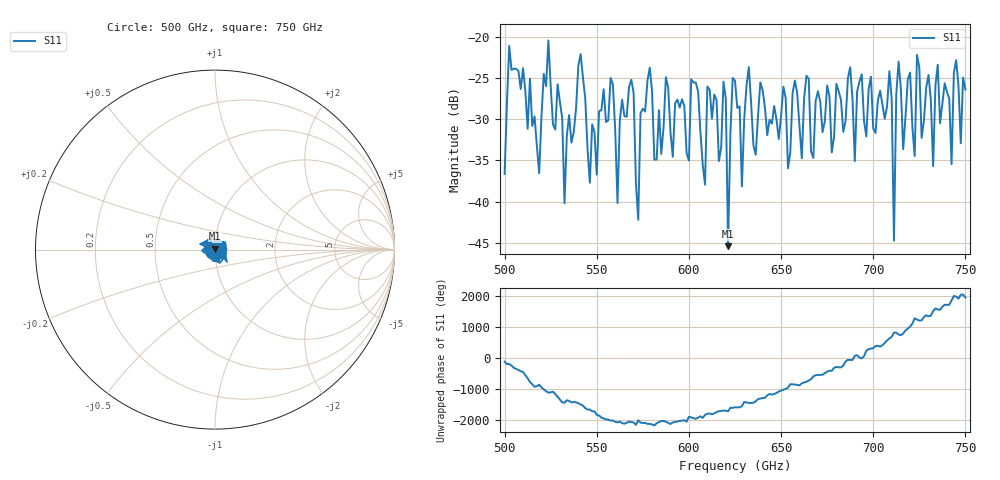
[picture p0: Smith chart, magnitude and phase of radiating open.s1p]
!Created with mwavepy.
# GHz S RI R 50.0
!freq	ReS11	ImS11
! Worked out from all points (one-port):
!   201 points, 500 GHz to 750 GHz, reference 50 ohm
!   lowest |S11| = -45.4 dB at 621.2 GHz (marker M1), VSWR 1.01, Z = 50.2 + j0.5 ohm
!   |S11| at or under -10 dB: start of sweep to end of sweep
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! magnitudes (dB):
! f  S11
! 500 GHz  -36.6
! 502.5 GHz  -21.1
! 518.8 GHz  -36.6
! 523.8 GHz  -20.4
! 531.2 GHz  -29.9
! 532.5 GHz  -40.2
! 541.2 GHz  -22.1
! 562.5 GHz  -30.2
! 568.8 GHz  -25.2
! 572.5 GHz  -42.2
! 578.8 GHz  -23.7
! 581.2 GHz  -34.9
! 593.8 GHz  -27.6
! 608.8 GHz  -38.0
! 610 GHz  -26.0
! 618.8 GHz  -25.4
! 621.2 GHz  -45.4
! 625 GHz  -25.3
! 628.8 GHz  -38.2
! 632.5 GHz  -23.7
! 656.2 GHz  -26.8
! 687.5 GHz  -23.7
! 690 GHz  -35.1
! 708.8 GHz  -24.2
! 711.2 GHz  -44.8
! 713.8 GHz  -23.0
! 718.8 GHz  -25.1
! 750 GHz  -26.4
